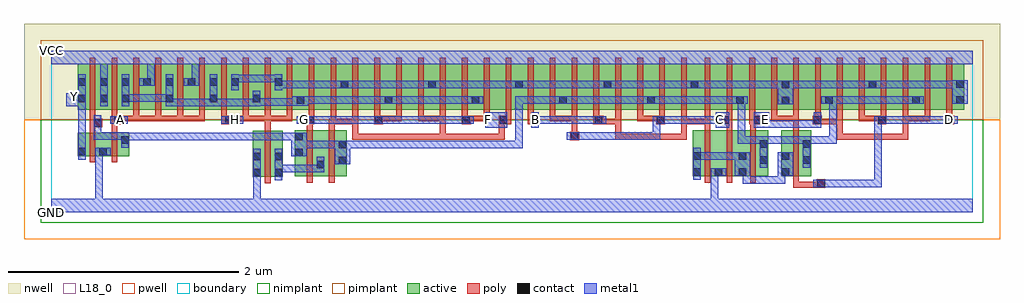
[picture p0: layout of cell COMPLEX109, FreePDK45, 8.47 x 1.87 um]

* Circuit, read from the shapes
.subckt COMPLEX109 A B C D E F G GND H VCC Y
M1 GND n1 Y VSUBS nfet w=0.2u l=0.05u
M2 n1 A GND VSUBS nfet w=0.2u l=0.05u
M3 n2 H GND VSUBS nfet w=0.4u l=0.05u
M4 n2 G n1 VSUBS nfet w=0.4u l=0.05u
M5 n1 F n2 VSUBS nfet w=0.4u l=0.05u
M6 GND B n3 VSUBS nfet w=0.4u l=0.05u
M7 n3 C GND VSUBS nfet w=0.4u l=0.05u
M8 n1 E n3 VSUBS nfet w=0.4u l=0.05u
M9 n1 D n3 VSUBS nfet w=0.4u l=0.05u
M10 VCC n1 Y n4 pfet w=0.4u l=0.05u
M11 n5 A VCC n4 pfet w=0.4u l=0.05u m=5
M12 n6 H n5 n4 pfet w=0.4u l=0.05u m=4
M13 n7 G n5 n4 pfet w=0.4u l=0.05u
M14 n6 F n7 n4 pfet w=0.4u l=0.05u
M15 n8 F n6 n4 pfet w=0.4u l=0.05u
M16 n5 G n8 n4 pfet w=0.4u l=0.05u
M17 n9 G n5 n4 pfet w=0.4u l=0.05u
M18 n6 F n9 n4 pfet w=0.4u l=0.05u
M19 n10 F n6 n4 pfet w=0.4u l=0.05u
M20 n5 G n10 n4 pfet w=0.4u l=0.05u
M21 n11 G n5 n4 pfet w=0.4u l=0.05u
M22 n6 F n11 n4 pfet w=0.4u l=0.05u
M23 n12 B n6 n4 pfet w=0.4u l=0.05u
M24 n1 C n12 n4 pfet w=0.4u l=0.05u
M25 n13 C n1 n4 pfet w=0.4u l=0.05u
M26 n6 B n13 n4 pfet w=0.4u l=0.05u
M27 n14 B n6 n4 pfet w=0.4u l=0.05u
M28 n1 C n14 n4 pfet w=0.4u l=0.05u
M29 n15 C n1 n4 pfet w=0.4u l=0.05u
M30 n6 B n15 n4 pfet w=0.4u l=0.05u
M31 n16 B n6 n4 pfet w=0.4u l=0.05u
M32 n1 C n16 n4 pfet w=0.4u l=0.05u
M33 n17 E n1 n4 pfet w=0.4u l=0.05u
M34 n6 D n17 n4 pfet w=0.4u l=0.05u
M35 n18 D n6 n4 pfet w=0.4u l=0.05u
M36 n1 E n18 n4 pfet w=0.4u l=0.05u
M37 n19 E n1 n4 pfet w=0.4u l=0.05u
M38 n6 D n19 n4 pfet w=0.4u l=0.05u
M39 n20 D n6 n4 pfet w=0.4u l=0.05u
M40 n1 E n20 n4 pfet w=0.4u l=0.05u
M41 n21 E n1 n4 pfet w=0.4u l=0.05u
M42 n6 D n21 n4 pfet w=0.4u l=0.05u
.ends

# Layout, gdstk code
import gdstk
lib = gdstk.Library(unit=1e-6, precision=1e-09)
def R(c, l, rs):  # rectangles x0, y0, x1, y1
    for r in rs: c.add(gdstk.rectangle(r[:2], r[2:], *l))
def A(c, l, x, y, w, h, nx, ny, dx, dy):  # array of equal rectangles
    R(c, l, [(x+i*dx, y+j*dy, x+i*dx+w, y+j*dy+h) for i in range(nx) for j in range(ny)])
active = (1, 0)
pwell = (2, 0)
nwell = (3, 0)
nimplant = (4, 0)
pimplant = (5, 0)
poly = (9, 0)
contact = (10, 0)
metal1 = (11, 0)
L18_0 = (18, 0)
boundary = (235, 0)

complex109 = lib.new_cell('COMPLEX109')
A(complex109, active, 0.99, 0.887, 0.265, 0.4, 3, 1, 0.19, 0)
A(complex109, active, 2.355, 0.887, 0.23, 0.4, 3, 1, 0.38, 0)
A(complex109, active, 2.51, 0.887, 0.225, 0.4, 3, 1, 0.38, 0)
A(complex109, active, 6.94, 0.887, 0.225, 0.4, 3, 1, 0.38, 0)
R(complex109, active, [(1.75,0.307,2.01,0.707), (1.75,0.307,1.825,0.707), (1.935,0.307,2.01,0.707), (2.115,0.312,2.375,0.712), (2.3,0.312,2.565,0.712), (2.3,0.312,2.375,0.577), (5.567,0.312,5.642,0.712), (5.567,0.312,5.83,0.712), (5.755,0.312,6.037,0.712), (5.755,0.312,5.83,0.492), (5.962,0.312,6.222,0.712), (5.962,0.312,6.037,0.527), (6.335,0.312,6.595,0.712), (6.335,0.312,6.41,0.712), (2.115,0.33,2.19,0.712), (6.147,0.33,6.222,0.712), (2.49,0.345,2.565,0.712), (6.52,0.345,6.595,0.712), (0.23,0.487,0.305,0.687), (0.23,0.487,0.49,0.687), (0.415,0.487,0.68,0.687), (0.415,0.487,0.49,0.562), (0.605,0.487,0.68,0.687), (0.23,0.887,0.495,1.287), (0.23,0.887,0.305,1.2), (0.42,0.887,0.685,1.287), (0.61,0.887,0.87,1.287), (0.795,0.887,1.065,1.287), (0.99,0.887,1.065,1.2), (1.56,0.887,1.82,1.287), (1.745,0.887,2.01,1.287), (1.745,0.887,1.82,1.07), (1.935,0.887,2.2,1.287), (2.125,0.887,2.355,1.287), (3.495,0.887,3.72,1.287), (3.645,0.887,3.875,1.287), (3.875,0.887,4.1,1.287), (4.025,0.887,4.257,1.287), (4.257,0.887,4.482,1.287), (4.407,0.887,4.637,1.287), (4.637,0.887,4.867,1.287), (4.792,0.887,5.017,1.287), (5.017,0.887,5.242,1.287), (5.167,0.887,5.397,1.287), (5.397,0.887,5.622,1.287), (5.547,0.887,5.792,1.287), (5.792,0.887,6.017,1.287), (5.942,0.887,6.18,1.287), (6.18,0.887,6.41,1.287), (6.335,0.887,6.56,1.287), (6.56,0.887,6.79,1.287), (6.715,0.887,6.94,1.287), (6.715,0.887,6.79,1.07), (7.09,0.887,7.32,1.287), (7.47,0.887,7.7,1.287), (7.47,0.887,7.545,1.07), (7.85,0.887,7.925,1.2), (0.42,0.907,0.495,1.255), (0.61,0.907,0.685,1.2), (0.795,0.907,0.87,1.287), (1.18,0.907,1.255,1.255), (1.37,0.907,1.445,1.2), (1.56,0.907,1.635,1.2), (1.935,0.907,2.01,1.2), (2.125,0.907,2.2,1.07), (2.51,0.907,2.585,1.2), (2.89,0.907,2.965,1.07), (3.27,0.907,3.345,1.2), (3.645,0.907,3.72,1.07), (4.025,0.907,4.1,1.2), (4.407,0.907,4.482,1.07), (4.792,0.907,4.867,1.2), (5.167,0.907,5.242,1.07), (5.547,0.907,5.622,1.2), (5.942,0.907,6.017,1.07), (6.335,0.907,6.41,1.2), (7.09,0.907,7.165,1.2)])
R(complex109, pwell, [(-0.235,-0.235,8.235,0.8)])
R(complex109, nwell, [(-0.235,0.8,8.235,1.635)])
R(complex109, nimplant, [(-0.09,-0.09,8.09,0.8)])
R(complex109, pimplant, [(-0.09,0.8,8.09,1.49)])
A(complex109, poly, 0.525, 0.787, 0.05, 0.095, 10, 1, 0.19, 0)
A(complex109, poly, 0.715, 0.787, 0.05, 0.05, 3, 1, 0.19, 0)
A(complex109, poly, 0.715, 0.787, 0.24, 0.05, 3, 1, 0.19, 0)
A(complex109, poly, 1.665, 0.787, 0.05, 0.05, 3, 1, 0.19, 0)
A(complex109, poly, 2.805, 0.787, 0.05, 0.095, 7, 1, 0.19, 0)
A(complex109, poly, 2.995, 0.787, 0.05, 0.05, 3, 1, 0.19, 0)
A(complex109, poly, 4.137, 0.787, 0.05, 0.095, 4, 1, 0.19, 0)
A(complex109, poly, 6.06, 0.787, 0.05, 0.095, 4, 1, 0.19, 0)
A(complex109, poly, 7.01, 0.787, 0.05, 0.095, 5, 1, 0.19, 0)
A(complex109, poly, 0.335, 0.832, 0.05, 0.51, 20, 1, 0.19, 0)
A(complex109, poly, 4.137, 0.832, 0.05, 0.51, 8, 1, 0.19, 0)
A(complex109, poly, 6.06, 0.832, 0.05, 0.51, 10, 1, 0.19, 0)
R(complex109, poly, [(6.44,0.212,6.49,0.307), (6.44,0.212,6.49,0.262), (6.44,0.212,6.695,0.262), (6.645,0.212,6.72,0.287), (6.645,0.212,6.695,0.262), (6.645,0.212,6.695,0.262), (6.645,0.212,6.695,0.262), (6.645,0.212,6.695,0.262), (1.855,0.252,1.905,0.762), (2.22,0.257,2.27,0.767), (2.41,0.257,2.46,0.767), (5.672,0.257,5.722,0.767), (5.862,0.257,5.912,0.767), (6.067,0.257,6.117,0.767), (6.44,0.257,6.49,0.767), (0.335,0.432,0.385,0.742), (0.525,0.432,0.575,0.742), (4.507,0.625,4.582,0.7), (2.615,0.63,2.665,0.68), (2.615,0.63,2.665,0.68), (2.615,0.63,2.665,0.68), (2.615,0.63,2.797,0.68), (2.615,0.63,2.665,0.812), (2.747,0.63,2.797,0.68), (2.747,0.63,3.102,0.68), (3.052,0.63,3.102,0.68), (3.052,0.63,3.102,0.68), (3.052,0.63,3.102,0.68), (3.052,0.63,3.235,0.68), (3.185,0.63,3.235,0.68), (3.185,0.63,3.235,0.68), (3.185,0.63,3.235,0.68), (3.185,0.63,3.425,0.68), (3.375,0.63,3.425,0.68), (3.375,0.63,3.425,0.68), (3.375,0.63,3.425,0.68), (3.375,0.63,3.425,0.837), (3.375,0.63,3.652,0.68), (3.602,0.63,3.652,0.68), (3.602,0.63,3.652,0.68), (3.602,0.63,3.652,0.68), (3.602,0.63,3.785,0.68), (3.735,0.63,3.785,0.68), (3.735,0.63,3.785,0.68), (3.735,0.63,3.785,0.68), (3.735,0.63,3.937,0.68), (3.887,0.63,3.937,0.68), (3.887,0.63,3.937,0.68), (3.887,0.63,3.937,0.68), (3.887,0.63,3.937,0.68), (3.887,0.63,3.937,0.68), (3.887,0.63,3.937,0.812), (4.897,0.63,4.947,0.68), (4.897,0.63,4.947,0.68), (4.897,0.63,4.947,0.68), (4.897,0.63,5.137,0.68), (4.897,0.63,4.947,0.812), (5.087,0.63,5.137,0.68), (5.087,0.63,5.137,0.68), (5.087,0.63,5.137,0.68), (5.087,0.63,5.27,0.68), (5.22,0.63,5.27,0.68), (5.22,0.63,5.517,0.68), (5.467,0.63,5.517,0.68), (5.467,0.63,5.517,0.68), (5.467,0.63,5.517,0.68), (5.467,0.63,5.517,0.812), (6.82,0.63,6.87,0.68), (6.82,0.63,6.87,0.68), (6.82,0.63,6.87,0.68), (6.82,0.63,7.002,0.68), (6.82,0.63,6.87,0.812), (6.952,0.63,7.002,0.68), (6.952,0.63,7.002,0.68), (6.952,0.63,7.002,0.68), (6.952,0.63,7.307,0.68), (7.257,0.63,7.307,0.68), (7.257,0.63,7.307,0.68), (7.257,0.63,7.307,0.68), (7.257,0.63,7.44,0.68), (7.39,0.63,7.44,0.68), (7.39,0.63,7.44,0.68), (7.39,0.63,7.44,0.68), (7.39,0.63,7.44,0.837), (4.517,0.65,4.567,0.837), (0.335,0.692,0.385,0.787), (0.525,0.692,0.575,0.812), (1.855,0.712,1.905,0.837), (2.22,0.717,2.27,0.812), (2.41,0.717,2.46,0.812), (5.672,0.717,5.722,0.812), (5.862,0.717,5.912,0.812), (6.067,0.717,6.117,0.812), (6.44,0.717,6.49,0.837), (0.335,0.737,0.442,0.812), (0.335,0.762,0.385,0.882), (0.525,0.762,0.617,0.837), (1.475,0.762,1.582,0.837), (2.21,0.762,2.285,0.837), (2.41,0.762,2.475,0.812), (2.425,0.762,2.475,0.812), (2.425,0.762,2.475,0.812), (2.425,0.762,2.665,0.812), (2.425,0.762,2.475,0.882), (2.615,0.762,2.665,0.812), (2.615,0.762,2.665,0.812), (2.615,0.762,2.665,0.812), (2.615,0.762,2.665,0.882), (2.805,0.762,2.88,0.837), (3.565,0.762,3.64,0.837), (3.887,0.762,3.995,0.837), (4.137,0.762,4.237,0.837), (4.707,0.762,4.79,0.837), (4.74,0.762,4.79,0.812), (4.74,0.762,4.79,0.812), (4.74,0.762,4.947,0.812), (4.897,0.762,4.947,0.812), (4.897,0.762,4.947,0.812), (4.897,0.762,4.947,0.812), (4.897,0.762,4.947,0.882), (5.252,0.762,5.327,0.837), (5.467,0.762,5.517,0.812), (5.467,0.762,5.517,0.812), (5.467,0.762,5.517,0.812), (5.467,0.762,5.517,0.882), (5.467,0.762,5.722,0.812), (5.672,0.762,5.722,0.812), (5.672,0.762,5.722,0.812), (5.672,0.762,5.722,0.812), (5.672,0.762,5.722,0.882), (5.817,0.762,5.912,0.837), (6.06,0.762,6.167,0.837), (6.612,0.762,6.687,0.837), (6.637,0.762,6.87,0.812), (6.82,0.762,6.87,0.812), (6.82,0.762,6.87,0.812), (6.82,0.762,6.87,0.812), (6.82,0.762,6.87,0.882), (7.175,0.762,7.25,0.837), (7.762,0.762,7.837,0.837), (0.567,0.787,0.617,0.837), (0.567,0.787,0.617,0.837), (0.567,0.787,0.765,0.837), (0.715,0.787,0.765,0.837), (0.715,0.787,0.765,0.837), (1.095,0.787,1.145,0.837), (1.095,0.787,1.145,0.837), (1.285,0.787,1.335,0.837), (1.285,0.787,1.335,0.837), (1.285,0.787,1.335,0.837), (1.532,0.787,1.582,0.837), (1.532,0.787,1.582,0.837), (1.532,0.787,1.715,0.837), (1.665,0.787,1.715,0.837), (1.665,0.787,1.715,0.837), (1.665,0.787,1.905,0.837), (1.855,0.787,2.095,0.837), (2.045,0.787,2.095,0.837), (2.045,0.787,2.095,0.837), (2.83,0.787,3.045,0.837), (2.995,0.787,3.045,0.837), (2.995,0.787,3.045,0.837), (3.185,0.787,3.425,0.837), (3.375,0.787,3.425,0.837), (3.375,0.787,3.425,0.837), (3.375,0.787,3.425,0.837), (3.375,0.787,3.425,0.837), (3.59,0.787,3.805,0.837), (3.755,0.787,3.805,0.837), (3.755,0.787,3.805,0.837), (3.755,0.787,3.805,0.837), (4.327,0.787,4.377,0.837), (4.327,0.787,4.377,0.837), (4.327,0.787,4.377,0.837), (4.327,0.787,4.567,0.837), (4.517,0.787,4.567,0.837), (4.517,0.787,4.567,0.837), (4.517,0.787,4.567,0.837), (5.087,0.787,5.137,0.882), (5.087,0.787,5.137,0.837), (5.087,0.787,5.302,0.837), (5.252,0.787,5.302,0.837), (5.252,0.787,5.302,0.837), (5.277,0.787,5.327,0.882), (5.862,0.787,5.912,0.882), (6.25,0.787,6.3,0.837), (6.25,0.787,6.49,0.837), (6.44,0.787,6.49,0.837), (6.44,0.787,6.49,0.837), (6.44,0.787,6.49,0.837), (7.01,0.787,7.06,0.837), (7.01,0.787,7.225,0.837), (7.175,0.787,7.225,0.837), (7.175,0.787,7.225,0.837), (7.39,0.787,7.44,0.837), (7.39,0.787,7.44,0.837), (7.39,0.787,7.44,0.837), (7.39,0.787,7.63,0.837), (7.58,0.787,7.63,0.837), (7.58,0.787,7.63,0.837), (7.58,0.787,7.63,0.837), (5.672,0.832,5.722,1.342), (5.862,0.832,5.912,1.342)])
A(complex109, contact, 0.235, 0.955, 0.065, 0.065, 3, 2, 0.19, 0.14)
A(complex109, contact, 0.995, 1.095, 0.065, 0.065, 4, 1, 0.19, 0)
R(complex109, contact, [(6.65,0.217,6.715,0.282), (1.755,0.312,1.82,0.377), (1.94,0.312,2.005,0.377), (5.572,0.317,5.637,0.382), (5.76,0.317,5.825,0.382), (5.967,0.317,6.032,0.382), (6.34,0.317,6.405,0.382), (2.305,0.382,2.37,0.447), (2.495,0.415,2.56,0.48), (6.152,0.42,6.217,0.485), (6.525,0.42,6.59,0.485), (1.755,0.452,1.82,0.517), (1.94,0.452,2.005,0.517), (5.572,0.457,5.637,0.522), (5.967,0.457,6.032,0.522), (6.34,0.457,6.405,0.522), (2.12,0.485,2.185,0.55), (0.235,0.492,0.3,0.557), (0.42,0.492,0.485,0.557), (2.495,0.555,2.56,0.62), (6.152,0.56,6.217,0.625), (6.525,0.56,6.59,0.625), (0.61,0.595,0.675,0.66), (2.12,0.625,2.185,0.69), (4.512,0.63,4.577,0.695), (0.372,0.742,0.437,0.807), (0.547,0.767,0.612,0.832), (1.512,0.767,1.577,0.832), (2.215,0.767,2.28,0.832), (2.81,0.767,2.875,0.832), (3.57,0.767,3.635,0.832), (3.892,0.767,3.957,0.832), (4.167,0.767,4.232,0.832), (4.72,0.767,4.785,0.832), (5.257,0.767,5.322,0.832), (5.822,0.767,5.887,0.832), (6.097,0.767,6.162,0.832), (6.617,0.767,6.682,0.832), (7.18,0.767,7.245,0.832), (7.767,0.767,7.832,0.832), (6.34,0.937,6.405,1.002), (2.13,0.94,2.195,1.005), (2.895,0.94,2.96,1.005), (3.65,0.94,3.715,1.005), (4.412,0.94,4.477,1.005), (5.172,0.94,5.237,1.005), (5.947,0.94,6.012,1.005), (6.72,0.94,6.785,1.005), (7.475,0.94,7.54,1.005), (7.855,0.94,7.92,1.005), (0.995,0.955,1.06,1.02), (1.375,0.955,1.44,1.02), (1.75,0.955,1.815,1.02), (2.515,1.077,2.58,1.142), (3.275,1.077,3.34,1.142), (4.03,1.077,4.095,1.142), (4.797,1.077,4.862,1.142), (5.552,1.077,5.617,1.142), (6.34,1.077,6.405,1.142), (7.095,1.077,7.16,1.142), (7.855,1.08,7.92,1.145), (0.8,1.095,0.865,1.16), (1.94,1.095,2.005,1.16)])
A(complex109, metal1, 0.235, 0.92, 0.065, 0.275, 3, 1, 0.19, 0)
R(complex109, metal1, [(0,0,8,0.115), (0.385,0.05,0.45,0.115), (0.385,0.05,0.45,0.115), (0.385,0.05,0.45,0.115), (0.385,0.05,0.45,0.115), (0.385,0.05,0.45,0.115), (0.385,0.05,0.45,0.115), (0.385,0.05,0.45,0.115), (0.385,0.05,0.45,0.115), (0.385,0.05,0.45,0.557), (1.755,0.05,1.82,0.342), (5.725,0.05,5.79,0.115), (5.725,0.05,5.79,0.115), (5.725,0.05,5.79,0.115), (5.725,0.05,5.79,0.115), (5.725,0.05,5.79,0.382), (6.615,0.217,6.75,0.282), (6.685,0.217,6.75,0.282), (6.685,0.217,6.75,0.282), (6.685,0.217,6.92,0.282), (6.855,0.217,6.92,0.282), (6.855,0.217,6.957,0.282), (6.892,0.217,6.957,0.282), (6.892,0.217,7.072,0.282), (7.007,0.217,7.072,0.282), (7.007,0.217,7.21,0.282), (7.145,0.217,7.21,0.282), (7.145,0.217,7.21,0.282), (7.145,0.217,7.21,0.282), (7.145,0.217,7.21,0.282), (7.145,0.217,7.21,0.282), (7.145,0.217,7.21,0.282), (7.145,0.217,7.21,0.282), (7.145,0.217,7.21,0.832), (6.002,0.247,6.067,0.382), (6.002,0.247,6.232,0.312), (6.167,0.247,6.232,0.312), (6.167,0.247,6.37,0.312), (6.305,0.247,6.37,0.382), (1.755,0.277,1.82,0.342), (1.755,0.277,1.82,0.342), (1.755,0.277,1.82,0.342), (1.755,0.277,1.82,0.342), (1.755,0.277,1.82,0.552), (1.94,0.277,2.005,0.552), (5.572,0.282,5.637,0.557), (5.725,0.317,5.86,0.382), (5.932,0.317,6.067,0.522), (6.002,0.317,6.067,0.382), (6.305,0.317,6.37,0.382), (6.305,0.317,6.44,0.522), (1.94,0.347,2.005,0.412), (1.94,0.347,2.005,0.412), (1.94,0.347,2.142,0.412), (2.077,0.347,2.142,0.412), (2.077,0.347,2.37,0.412), (2.305,0.347,2.37,0.412), (2.305,0.347,2.37,0.412), (2.305,0.347,2.37,0.482), (6.152,0.385,6.217,0.66), (6.525,0.385,6.59,0.66), (2.46,0.415,2.595,0.62), (0.235,0.457,0.3,0.592), (5.572,0.457,5.637,0.522), (5.572,0.457,5.637,0.522), (5.572,0.457,5.84,0.522), (5.775,0.457,5.84,0.522), (5.775,0.457,5.84,0.522), (5.775,0.457,5.84,0.522), (5.775,0.457,5.997,0.522), (2.085,0.485,2.22,0.69), (0.385,0.492,0.52,0.557), (0.235,0.527,0.3,0.985), (2.155,0.555,2.22,0.62), (2.155,0.555,2.22,0.62), (2.155,0.555,2.367,0.62), (2.302,0.555,2.367,0.62), (2.302,0.555,2.507,0.62), (2.442,0.555,2.507,0.62), (2.442,0.555,2.525,0.62), (2.53,0.555,2.645,0.62), (2.58,0.555,2.645,0.62), (2.58,0.555,2.782,0.62), (2.717,0.555,2.782,0.62), (2.717,0.555,2.782,0.62), (2.717,0.555,2.782,0.62), (2.717,0.555,3.03,0.62), (2.965,0.555,3.03,0.62), (2.965,0.555,3.047,0.62), (2.982,0.555,3.047,0.62), (2.982,0.555,3.167,0.62), (3.102,0.555,3.167,0.62), (3.102,0.555,3.237,0.62), (3.172,0.555,3.237,0.62), (3.172,0.555,3.405,0.62), (3.34,0.555,3.405,0.62), (3.34,0.555,3.405,0.62), (3.34,0.555,3.405,0.62), (3.34,0.555,3.542,0.62), (3.477,0.555,3.542,0.62), (3.477,0.555,3.542,0.62), (3.477,0.555,3.542,0.62), (3.477,0.555,3.695,0.62), (3.63,0.555,3.695,0.62), (3.63,0.555,3.695,0.62), (3.63,0.555,3.695,0.62), (3.63,0.555,3.922,0.62), (3.857,0.555,3.922,0.62), (3.857,0.555,4.095,0.62), (4.03,0.555,4.095,0.62), (4.03,0.555,4.095,0.62), (4.03,0.555,4.095,0.62), (4.03,0.555,4.095,0.62), (4.03,0.555,4.095,0.62), (4.03,0.555,4.095,1.005), (0.61,0.56,0.675,0.695), (5.96,0.595,6.025,0.66), (5.96,0.595,6.025,0.66), (5.96,0.595,6.025,0.66), (5.96,0.595,6.025,1.005), (5.96,0.595,6.217,0.66), (6.152,0.595,6.217,0.66), (6.152,0.595,6.217,0.66), (6.152,0.595,6.37,0.66), (6.305,0.595,6.37,0.66), (6.305,0.595,6.37,0.66), (6.305,0.595,6.37,0.66), (6.305,0.595,6.507,0.66), (6.442,0.595,6.507,0.66), (6.442,0.595,6.59,0.66), (6.525,0.595,6.782,0.66), (6.717,0.595,6.782,0.66), (6.717,0.595,6.82,0.66), (6.755,0.595,6.82,0.66), (6.755,0.595,6.82,1.005), (0.61,0.625,0.89,0.69), (0.825,0.625,0.89,0.69), (0.825,0.625,0.89,0.69), (0.825,0.625,0.89,0.69), (0.825,0.625,1.027,0.69), (0.962,0.625,1.027,0.69), (0.962,0.625,1.027,0.69), (0.962,0.625,1.027,0.69), (0.962,0.625,1.165,0.69), (1.1,0.625,1.165,0.69), (1.1,0.625,1.302,0.69), (1.237,0.625,1.302,0.69), (1.237,0.625,1.302,0.69), (1.237,0.625,1.302,0.69), (1.237,0.625,1.492,0.69), (1.427,0.625,1.492,0.69), (1.427,0.625,1.492,0.69), (1.427,0.625,1.492,0.69), (1.427,0.625,1.63,0.69), (1.565,0.625,1.63,0.69), (1.565,0.625,1.63,0.69), (1.565,0.625,1.63,0.69), (1.565,0.625,1.82,0.69), (1.755,0.625,1.82,0.69), (1.755,0.625,1.82,0.69), (1.755,0.625,1.82,0.69), (1.755,0.625,1.957,0.69), (1.892,0.625,1.957,0.69), (1.892,0.625,1.957,0.69), (1.892,0.625,1.957,0.69), (1.892,0.625,2.15,0.69), (0.372,0.63,0.437,0.695), (0.372,0.63,0.675,0.695), (0.372,0.63,0.437,0.772), (0.61,0.63,0.675,0.695), (0.61,0.63,0.675,0.695), (4.477,0.63,4.612,0.695), (4.547,0.63,4.65,0.695), (4.585,0.63,4.65,0.695), (4.585,0.63,4.65,0.695), (4.585,0.63,4.65,0.695), (4.585,0.63,4.787,0.695), (4.722,0.63,4.787,0.695), (4.722,0.63,4.925,0.695), (4.86,0.63,4.925,0.695), (4.86,0.63,4.925,0.695), (4.86,0.63,4.925,0.695), (4.86,0.63,5.065,0.695), (5,0.63,5.065,0.695), (5,0.63,5.065,0.695), (5,0.63,5.065,0.695), (5,0.63,5.287,0.695), (5.222,0.63,5.287,0.695), (5.222,0.63,5.287,0.832), (0.372,0.707,0.437,0.772), (0.372,0.707,0.437,0.772), (0.372,0.707,0.437,0.842), (3.767,0.732,3.957,0.867), (4.167,0.732,4.232,0.867), (5.767,0.732,5.887,0.867), (6.097,0.732,6.232,0.867), (6.167,0.732,6.232,0.797), (6.167,0.732,6.232,0.797), (6.167,0.732,6.37,0.797), (6.305,0.732,6.37,0.797), (6.305,0.732,6.37,0.797), (6.305,0.732,6.37,0.797), (6.305,0.732,6.507,0.797), (6.442,0.732,6.507,0.797), (6.442,0.732,6.577,0.797), (6.512,0.732,6.577,0.797), (6.512,0.732,6.682,0.797), (6.617,0.732,6.682,0.867), (0.512,0.767,0.667,0.832), (1.477,0.767,1.667,0.832), (2.132,0.767,2.315,0.832), (2.25,0.767,2.367,0.832), (2.302,0.767,2.367,0.832), (2.302,0.767,2.507,0.832), (2.442,0.767,2.507,0.832), (2.442,0.767,2.645,0.832), (2.58,0.767,2.645,0.832), (2.58,0.767,2.645,0.832), (2.58,0.767,2.645,0.832), (2.58,0.767,2.787,0.832), (2.722,0.767,2.787,0.832), (2.722,0.767,2.84,0.832), (2.775,0.767,2.91,0.832), (2.845,0.767,2.925,0.832), (2.86,0.767,2.925,0.832), (2.86,0.767,3.047,0.832), (2.982,0.767,3.047,0.832), (2.982,0.767,3.167,0.832), (3.102,0.767,3.167,0.832), (3.102,0.767,3.237,0.832), (3.172,0.767,3.237,0.832), (3.172,0.767,3.375,0.832), (3.31,0.767,3.375,0.832), (3.31,0.767,3.375,0.832), (3.31,0.767,3.375,0.832), (3.31,0.767,3.542,0.832), (3.477,0.767,3.542,0.832), (3.477,0.767,3.6,0.832), (3.535,0.767,3.67,0.832), (4.167,0.767,4.267,0.832), (4.202,0.767,4.267,0.832), (4.202,0.767,4.405,0.832), (4.34,0.767,4.405,0.832), (4.34,0.767,4.405,0.832), (4.34,0.767,4.405,0.832), (4.34,0.767,4.542,0.832), (4.477,0.767,4.542,0.832), (4.477,0.767,4.65,0.832), (4.585,0.767,4.65,0.832), (4.585,0.767,4.75,0.832), (4.685,0.767,4.82,0.832), (5.222,0.767,5.287,0.832), (5.222,0.767,5.287,0.832), (5.222,0.767,5.357,0.832), (5.292,0.767,5.445,0.832), (5.38,0.767,5.445,0.832), (5.38,0.767,5.495,0.832), (5.43,0.767,5.495,0.832), (5.43,0.767,5.632,0.832), (5.567,0.767,5.632,0.832), (5.567,0.767,5.632,0.832), (5.567,0.767,5.632,0.832), (5.567,0.767,5.832,0.832), (5.767,0.767,5.832,0.832), (5.767,0.767,5.832,0.832), (7.145,0.767,7.21,0.832), (7.145,0.767,7.21,0.832), (7.145,0.767,7.28,0.832), (7.215,0.767,7.367,0.832), (7.302,0.767,7.367,0.832), (7.302,0.767,7.522,0.832), (7.457,0.767,7.522,0.832), (7.457,0.767,7.522,0.832), (7.457,0.767,7.522,0.832), (7.457,0.767,7.66,0.832), (7.595,0.767,7.66,0.832), (7.595,0.767,7.66,0.832), (7.595,0.767,7.66,0.832), (7.595,0.767,7.797,0.832), (7.732,0.767,7.867,0.832), (0.132,0.92,0.3,1.032), (0.235,0.92,0.3,0.985), (0.995,0.92,1.165,0.985), (0.995,0.92,1.06,1.195), (1.1,0.92,1.165,0.985), (1.1,0.92,1.302,0.985), (1.237,0.92,1.302,0.985), (1.237,0.92,1.302,0.985), (1.237,0.92,1.302,0.985), (1.237,0.92,1.44,0.985), (1.375,0.92,1.44,0.985), (1.375,0.92,1.44,0.985), (1.375,0.92,1.44,1.195), (1.375,0.92,1.63,0.985), (1.565,0.92,1.63,0.985), (1.565,0.92,1.63,0.985), (1.565,0.92,1.63,0.985), (1.565,0.92,1.815,0.985), (1.75,0.92,1.815,1.055), (1.75,0.922,1.815,0.987), (1.75,0.922,1.815,0.987), (1.75,0.922,1.957,0.987), (1.892,0.922,1.957,0.987), (1.892,0.922,1.957,0.987), (1.892,0.922,1.957,0.987), (1.892,0.922,2.16,0.987), (2.095,0.922,2.23,1.005), (6.305,0.937,6.44,1.142), (2.165,0.94,2.23,1.005), (2.165,0.94,2.23,1.005), (2.165,0.94,2.367,1.005), (2.302,0.94,2.367,1.005), (2.302,0.94,2.367,1.005), (2.302,0.94,2.367,1.005), (2.302,0.94,2.507,1.005), (2.442,0.94,2.507,1.005), (2.442,0.94,2.645,1.005), (2.58,0.94,2.645,1.005), (2.58,0.94,2.645,1.005), (2.58,0.94,2.645,1.005), (2.58,0.94,2.782,1.005), (2.717,0.94,2.782,1.005), (2.717,0.94,2.782,1.005), (2.717,0.94,2.782,1.005), (2.717,0.94,2.925,1.005), (2.86,0.94,2.995,1.005), (2.93,0.94,3.1,1.005), (3.035,0.94,3.1,1.005), (3.035,0.94,3.167,1.005), (3.102,0.94,3.167,1.005), (3.102,0.94,3.237,1.005), (3.172,0.94,3.237,1.005), (3.172,0.94,3.375,1.005), (3.31,0.94,3.375,1.005), (3.31,0.94,3.375,1.005), (3.31,0.94,3.375,1.005), (3.31,0.94,3.542,1.005), (3.477,0.94,3.542,1.005), (3.477,0.94,3.542,1.005), (3.477,0.94,3.542,1.005), (3.477,0.94,3.68,1.005), (3.615,0.94,3.75,1.005), (4.03,0.94,4.095,1.005), (4.03,0.94,4.267,1.005), (4.202,0.94,4.267,1.005), (4.202,0.94,4.267,1.005), (4.202,0.94,4.267,1.005), (4.202,0.94,4.405,1.005), (4.34,0.94,4.405,1.005), (4.34,0.94,4.442,1.005), (4.377,0.94,4.512,1.005), (4.447,0.94,4.542,1.005), (4.477,0.94,4.542,1.005), (4.477,0.94,4.65,1.005), (4.585,0.94,4.65,1.005), (4.585,0.94,4.787,1.005), (4.722,0.94,4.787,1.005), (4.722,0.94,4.787,1.005), (4.722,0.94,4.787,1.005), (4.722,0.94,4.925,1.005), (4.86,0.94,4.925,1.005), (4.86,0.94,5.062,1.005), (4.997,0.94,5.062,1.005), (4.997,0.94,5.062,1.005), (4.997,0.94,5.062,1.005), (4.997,0.94,5.202,1.005), (5.137,0.94,5.272,1.005), (5.207,0.94,5.272,1.005), (5.207,0.94,5.272,1.005), (5.207,0.94,5.445,1.005), (5.38,0.94,5.445,1.005), (5.38,0.94,5.495,1.005), (5.43,0.94,5.495,1.005), (5.43,0.94,5.652,1.005), (5.587,0.94,5.652,1.005), (5.587,0.94,5.652,1.005), (5.587,0.94,5.652,1.005), (5.587,0.94,5.79,1.005), (5.725,0.94,5.79,1.005), (5.725,0.94,5.79,1.005), (5.725,0.94,5.79,1.005), (5.725,0.94,5.977,1.005), (5.912,0.94,6.047,1.005), (6.685,0.94,6.82,1.005), (6.755,0.94,6.82,1.005), (6.755,0.94,6.82,1.005), (6.755,0.94,6.92,1.005), (6.855,0.94,6.92,1.005), (6.855,0.94,6.987,1.005), (6.922,0.94,6.987,1.005), (6.922,0.94,7.057,1.005), (6.992,0.94,7.057,1.005), (6.992,0.94,7.21,1.005), (7.145,0.94,7.21,1.005), (7.145,0.94,7.347,1.005), (7.282,0.94,7.347,1.005), (7.282,0.94,7.347,1.005), (7.282,0.94,7.347,1.005), (7.282,0.94,7.505,1.005), (7.44,0.94,7.505,1.005), (7.44,0.94,7.505,1.005), (7.44,0.94,7.575,1.005), (7.82,0.94,7.955,1.145), (0.615,0.957,0.89,1.022), (0.825,0.957,0.89,1.022), (0.825,0.957,0.89,1.022), (0.825,0.957,0.89,1.022), (0.825,0.957,1.027,1.022), (0.962,0.957,1.027,1.022), (0.962,0.957,1.06,1.022), (1.565,1.06,1.63,1.195), (1.94,1.06,2.005,1.195), (1.94,1.077,2.005,1.142), (1.94,1.077,2.005,1.142), (1.94,1.077,2.23,1.142), (2.165,1.077,2.23,1.142), (2.165,1.077,2.23,1.142), (2.165,1.077,2.23,1.142), (2.165,1.077,2.367,1.142), (2.302,1.077,2.367,1.142), (2.302,1.077,2.507,1.142), (2.442,1.077,2.507,1.142), (2.442,1.077,2.545,1.142), (2.48,1.077,2.615,1.142), (2.55,1.077,2.645,1.142), (2.58,1.077,2.645,1.142), (2.58,1.077,2.787,1.142), (2.722,1.077,2.787,1.142), (2.722,1.077,2.787,1.142), (2.722,1.077,2.787,1.142), (2.722,1.077,3.03,1.142), (2.965,1.077,3.03,1.142), (2.965,1.077,3.047,1.142), (2.982,1.077,3.047,1.142), (2.982,1.077,3.167,1.142), (3.102,1.077,3.167,1.142), (3.102,1.077,3.237,1.142), (3.172,1.077,3.237,1.142), (3.172,1.077,3.305,1.142), (3.24,1.077,3.375,1.142), (3.31,1.077,3.375,1.142), (3.31,1.077,3.375,1.142), (3.31,1.077,3.542,1.142), (3.477,1.077,3.542,1.142), (3.477,1.077,3.542,1.142), (3.477,1.077,3.542,1.142), (3.477,1.077,3.68,1.142), (3.615,1.077,3.68,1.142), (3.615,1.077,3.68,1.142), (3.615,1.077,3.68,1.142), (3.615,1.077,3.922,1.142), (3.857,1.077,3.922,1.142), (3.857,1.077,4.06,1.142), (3.995,1.077,4.06,1.142), (3.995,1.077,4.06,1.142), (3.995,1.077,4.13,1.142), (4.065,1.077,4.267,1.142), (4.202,1.077,4.267,1.142), (4.202,1.077,4.267,1.142), (4.202,1.077,4.267,1.142), (4.202,1.077,4.405,1.142), (4.34,1.077,4.405,1.142), (4.34,1.077,4.405,1.142), (4.34,1.077,4.405,1.142), (4.34,1.077,4.612,1.142), (4.547,1.077,4.612,1.142), (4.547,1.077,4.65,1.142), (4.585,1.077,4.65,1.142), (4.585,1.077,4.787,1.142), (4.722,1.077,4.787,1.142), (4.722,1.077,4.827,1.142), (4.762,1.077,4.897,1.142), (4.832,1.077,4.925,1.142), (4.86,1.077,4.925,1.142), (4.86,1.077,5.062,1.142), (4.997,1.077,5.062,1.142), (4.997,1.077,5.062,1.142), (4.997,1.077,5.062,1.142), (4.997,1.077,5.307,1.142), (5.242,1.077,5.307,1.142), (5.242,1.077,5.307,1.142), (5.242,1.077,5.307,1.142), (5.242,1.077,5.445,1.142), (5.38,1.077,5.445,1.142), (5.38,1.077,5.495,1.142), (5.43,1.077,5.495,1.142), (5.43,1.077,5.582,1.142), (5.517,1.077,5.652,1.142), (5.587,1.077,5.652,1.142), (5.587,1.077,5.652,1.142), (5.587,1.077,5.84,1.142), (5.775,1.077,5.84,1.142), (5.775,1.077,5.84,1.142), (5.775,1.077,5.84,1.142), (5.775,1.077,6.08,1.142), (6.015,1.077,6.08,1.142), (6.015,1.077,6.08,1.142), (6.015,1.077,6.08,1.142), (6.015,1.077,6.217,1.142), (6.152,1.077,6.217,1.142), (6.152,1.077,6.37,1.142), (6.305,1.077,6.37,1.142), (6.305,1.077,6.37,1.142), (6.375,1.077,6.507,1.142), (6.442,1.077,6.507,1.142), (6.442,1.077,6.577,1.142), (6.512,1.077,6.577,1.142), (6.512,1.077,6.782,1.142), (6.717,1.077,6.782,1.142), (6.717,1.077,6.782,1.142), (6.717,1.077,6.782,1.142), (6.717,1.077,6.92,1.142), (6.855,1.077,6.92,1.142), (6.855,1.077,6.957,1.142), (6.892,1.077,6.957,1.142), (6.892,1.077,7.057,1.142), (6.992,1.077,7.057,1.142), (6.992,1.077,7.125,1.142), (7.06,1.077,7.195,1.142), (7.13,1.077,7.347,1.142), (7.282,1.077,7.347,1.142), (7.282,1.077,7.347,1.142), (7.282,1.077,7.347,1.142), (7.282,1.077,7.522,1.142), (7.457,1.077,7.522,1.142), (7.457,1.077,7.522,1.142), (7.457,1.077,7.522,1.142), (7.457,1.077,7.66,1.142), (7.595,1.077,7.66,1.142), (7.595,1.077,7.66,1.142), (7.595,1.077,7.66,1.142), (7.595,1.077,7.885,1.142), (7.82,1.077,7.885,1.142), (7.82,1.077,7.885,1.142), (0.765,1.095,0.9,1.16), (0.835,1.095,0.9,1.35), (1.15,1.095,1.285,1.16), (1.22,1.095,1.285,1.35), (1.565,1.127,1.63,1.192), (1.565,1.127,1.63,1.192), (1.565,1.127,1.767,1.192), (1.702,1.127,1.767,1.192), (1.702,1.127,1.767,1.192), (1.702,1.127,1.767,1.192), (1.702,1.127,2.005,1.192), (0.425,1.13,0.49,1.35), (0,1.285,8,1.4)])
R(complex109, L18_0, [(0,0,8,0.115), (0.385,0.05,0.45,0.115), (0.385,0.05,0.45,0.115), (0.385,0.05,0.45,0.115), (0.385,0.05,0.45,0.115), (0.385,0.05,0.45,0.115), (0.385,0.05,0.45,0.115), (0.385,0.05,0.45,0.115), (0.385,0.05,0.45,0.115), (0.385,0.05,0.45,0.557), (1.755,0.05,1.82,0.342), (5.725,0.05,5.79,0.115), (5.725,0.05,5.79,0.115), (5.725,0.05,5.79,0.115), (5.725,0.05,5.79,0.115), (5.725,0.05,5.79,0.382), (6.615,0.217,6.75,0.282), (6.685,0.217,6.75,0.282), (6.685,0.217,6.75,0.282), (6.685,0.217,6.92,0.282), (6.855,0.217,6.92,0.282), (6.855,0.217,6.957,0.282), (6.892,0.217,6.957,0.282), (6.892,0.217,7.072,0.282), (7.007,0.217,7.072,0.282), (7.007,0.217,7.21,0.282), (7.145,0.217,7.21,0.282), (7.145,0.217,7.21,0.282), (7.145,0.217,7.21,0.282), (7.145,0.217,7.21,0.282), (7.145,0.217,7.21,0.282), (7.145,0.217,7.21,0.282), (7.145,0.217,7.21,0.282), (7.145,0.217,7.21,0.832), (1.755,0.277,1.82,0.552), (1.755,0.277,1.82,0.342), (1.755,0.277,1.82,0.342), (1.755,0.277,1.82,0.342), (1.755,0.277,1.82,0.342), (5.725,0.317,5.86,0.382), (0.235,0.457,0.3,0.592), (0.385,0.492,0.52,0.557), (0.235,0.527,0.3,0.985), (4.477,0.63,4.612,0.695), (4.547,0.63,4.65,0.695), (4.585,0.63,4.65,0.695), (4.585,0.63,4.65,0.695), (4.585,0.63,4.65,0.695), (4.585,0.63,4.787,0.695), (4.722,0.63,4.787,0.695), (4.722,0.63,4.925,0.695), (4.86,0.63,4.925,0.695), (4.86,0.63,4.925,0.695), (4.86,0.63,4.925,0.695), (4.86,0.63,5.065,0.695), (5,0.63,5.065,0.695), (5,0.63,5.065,0.695), (5,0.63,5.065,0.695), (5,0.63,5.287,0.695), (5.222,0.63,5.287,0.695), (5.222,0.63,5.287,0.832), (3.767,0.732,3.957,0.867), (4.167,0.732,4.232,0.867), (5.767,0.732,5.887,0.867), (6.097,0.732,6.232,0.867), (6.167,0.732,6.232,0.797), (6.167,0.732,6.232,0.797), (6.167,0.732,6.37,0.797), (6.305,0.732,6.37,0.797), (6.305,0.732,6.37,0.797), (6.305,0.732,6.37,0.797), (6.305,0.732,6.507,0.797), (6.442,0.732,6.507,0.797), (6.442,0.732,6.577,0.797), (6.512,0.732,6.577,0.797), (6.512,0.732,6.682,0.797), (6.617,0.732,6.682,0.867), (0.512,0.767,0.667,0.832), (0.567,0.767,0.632,0.832), (1.477,0.767,1.667,0.832), (1.567,0.767,1.632,0.832), (2.132,0.767,2.315,0.832), (2.167,0.767,2.232,0.832), (2.25,0.767,2.367,0.832), (2.302,0.767,2.367,0.832), (2.302,0.767,2.507,0.832), (2.442,0.767,2.507,0.832), (2.442,0.767,2.645,0.832), (2.58,0.767,2.645,0.832), (2.58,0.767,2.645,0.832), (2.58,0.767,2.645,0.832), (2.58,0.767,2.787,0.832), (2.722,0.767,2.787,0.832), (2.722,0.767,2.84,0.832), (2.775,0.767,2.91,0.832), (2.845,0.767,2.925,0.832), (2.86,0.767,2.925,0.832), (2.86,0.767,3.047,0.832), (2.982,0.767,3.047,0.832), (2.982,0.767,3.167,0.832), (3.102,0.767,3.167,0.832), (3.102,0.767,3.237,0.832), (3.172,0.767,3.237,0.832), (3.172,0.767,3.375,0.832), (3.31,0.767,3.375,0.832), (3.31,0.767,3.375,0.832), (3.31,0.767,3.375,0.832), (3.31,0.767,3.542,0.832), (3.477,0.767,3.542,0.832), (3.477,0.767,3.6,0.832), (3.535,0.767,3.67,0.832), (3.767,0.767,3.832,0.832), (4.167,0.767,4.232,0.832), (4.167,0.767,4.267,0.832), (4.202,0.767,4.267,0.832), (4.202,0.767,4.405,0.832), (4.34,0.767,4.405,0.832), (4.34,0.767,4.405,0.832), (4.34,0.767,4.405,0.832), (4.34,0.767,4.542,0.832), (4.477,0.767,4.542,0.832), (4.477,0.767,4.65,0.832), (4.585,0.767,4.65,0.832), (4.585,0.767,4.75,0.832), (4.685,0.767,4.82,0.832), (5.222,0.767,5.287,0.832), (5.222,0.767,5.287,0.832), (5.222,0.767,5.357,0.832), (5.292,0.767,5.445,0.832), (5.38,0.767,5.445,0.832), (5.38,0.767,5.495,0.832), (5.43,0.767,5.495,0.832), (5.43,0.767,5.632,0.832), (5.567,0.767,5.632,0.832), (5.567,0.767,5.632,0.832), (5.567,0.767,5.632,0.832), (5.567,0.767,5.832,0.832), (5.767,0.767,5.832,0.832), (5.767,0.767,5.832,0.832), (5.767,0.767,5.832,0.832), (6.167,0.767,6.232,0.832), (7.145,0.767,7.21,0.832), (7.145,0.767,7.21,0.832), (7.145,0.767,7.28,0.832), (7.215,0.767,7.367,0.832), (7.302,0.767,7.367,0.832), (7.302,0.767,7.522,0.832), (7.457,0.767,7.522,0.832), (7.457,0.767,7.522,0.832), (7.457,0.767,7.522,0.832), (7.457,0.767,7.66,0.832), (7.595,0.767,7.66,0.832), (7.595,0.767,7.66,0.832), (7.595,0.767,7.66,0.832), (7.595,0.767,7.797,0.832), (7.732,0.767,7.867,0.832), (7.767,0.767,7.832,0.832), (0.132,0.92,0.3,1.032), (0.235,0.92,0.3,1.195), (0.235,0.92,0.3,0.985), (0.425,0.92,0.49,1.195), (0.167,0.967,0.232,1.032), (0.765,1.095,0.9,1.16), (0.835,1.095,0.9,1.35), (1.15,1.095,1.285,1.16), (1.22,1.095,1.285,1.35), (0.425,1.13,0.49,1.35), (0,1.285,8,1.4)])
R(complex109, boundary, [(0,0,8,1.4)])
complex109.add(gdstk.Label('A', (0.6,0.8), layer=11, texttype=0))
complex109.add(gdstk.Label('B', (4.2,0.8), layer=11, texttype=0))
complex109.add(gdstk.Label('C', (5.8,0.8), layer=11, texttype=0))
complex109.add(gdstk.Label('D', (7.8,0.8), layer=11, texttype=0))
complex109.add(gdstk.Label('E', (6.2,0.8), layer=11, texttype=0))
complex109.add(gdstk.Label('F', (3.8,0.8), layer=11, texttype=0))
complex109.add(gdstk.Label('G', (2.2,0.8), layer=11, texttype=0))
complex109.add(gdstk.Label('H', (1.6,0.8), layer=11, texttype=0))
complex109.add(gdstk.Label('Y', (0.2,1), layer=11, texttype=0))
complex109.add(gdstk.Label('VCC', (0,1.4), layer=11, texttype=0))
complex109.add(gdstk.Label('GND', (0,0), layer=11, texttype=0))

lib.write_gds('COMPLEX109.gds')
